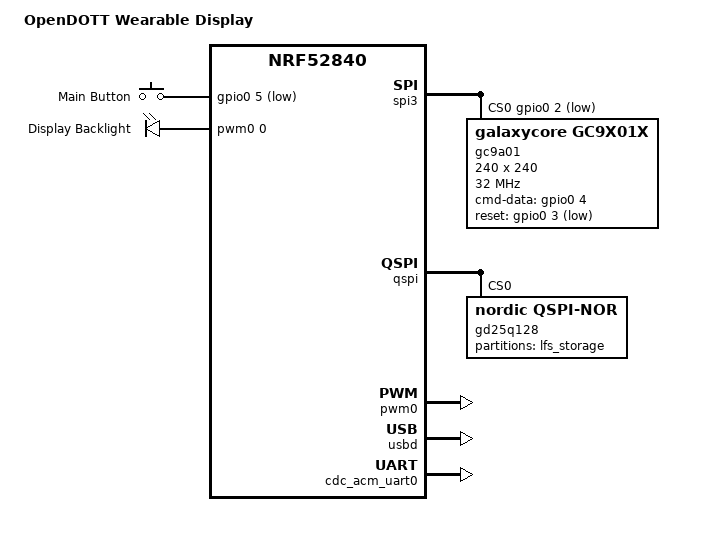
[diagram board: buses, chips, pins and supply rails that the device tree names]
/*
 * OpenDOTT Device Tree
 * SPDX-License-Identifier: MIT
 * 
 * nRF52840 + GC9A01 display + GD25Q128 flash
 * 
 * PIN ASSIGNMENTS (from firmware reverse engineering):
 * - P0.1  = Backlight PWM
 * - P0.2  = Display CS (guess)
 * - P0.3  = Display RESET (guess)  
 * - P0.4  = Display DC (from firmware GPIO spec)
 * - P0.5  = Button (guess)
 * - P0.15 = Display SPI SCK (confirmed)
 * - P0.16 = Display SPI MOSI (confirmed)
 * - P0.17 = QSPI CS (confirmed)
 * - P0.19-23 = QSPI data (confirmed)
 */

/dts-v1/;
#include <nordic/nrf52840_qiaa.dtsi>
#include "opendott-pinctrl.dtsi"

/ {
    model = "OpenDOTT Wearable Display";
    compatible = "opendott,opendott";

    chosen {
        zephyr,console = &cdc_acm_uart0;
        zephyr,shell-uart = &cdc_acm_uart0;
        zephyr,sram = &sram0;
        zephyr,flash = &flash0;
        zephyr,code-partition = &slot0_partition;
        zephyr,display = &gc9a01;
    };

    aliases {
        sw0 = &button0;
        spi-flash0 = &gd25q128;
        display0 = &gc9a01;
    };

    buttons {
        compatible = "gpio-keys";
        button0: button_0 {
            /* Button - best guess P0.5 */
            gpios = <&gpio0 5 (GPIO_PULL_UP | GPIO_ACTIVE_LOW)>;
            label = "Main Button";
            zephyr,code = <INPUT_KEY_0>;
        };
    };

    /* Display backlight via PWM */
    pwmleds {
        compatible = "pwm-leds";
        backlight: backlight {
            pwms = <&pwm0 0 PWM_MSEC(20) PWM_POLARITY_NORMAL>;
            label = "Display Backlight";
        };
    };
};

&flash0 {
    partitions {
        compatible = "fixed-partitions";
        #address-cells = <1>;
        #size-cells = <1>;

        /* MCUboot bootloader */
        boot_partition: partition@0 {
            label = "mcuboot";
            reg = <0x0 0xc000>;
        };

        /* Application slot 0 */
        slot0_partition: partition@c000 {
            label = "image-0";
            reg = <0xc000 0x72000>;
        };

        /* Application slot 1 (OTA) */
        slot1_partition: partition@7e000 {
            label = "image-1";
            reg = <0x7e000 0x72000>;
        };

        /* Scratch partition for OTA */
        scratch_partition: partition@f0000 {
            label = "image-scratch";
            reg = <0xf0000 0xa000>;
        };

        /* NVS storage for settings */
        storage_partition: partition@fa000 {
            label = "storage";
            reg = <0xfa000 0x6000>;
        };
    };
};

&gpio0 {
    status = "okay";
};

&gpio1 {
    status = "okay";
};

/* SPI3 for display - uses high-speed SPIM3 @ 32MHz */
&spi3 {
    compatible = "nordic,nrf-spim";
    status = "okay";
    pinctrl-0 = <&spi3_default>;
    pinctrl-1 = <&spi3_sleep>;
    pinctrl-names = "default", "sleep";
    cs-gpios = <&gpio0 2 GPIO_ACTIVE_LOW>;  /* CS on P0.2 (guess) */

    gc9a01: gc9a01@0 {
        compatible = "galaxycore,gc9x01x";
        reg = <0>;
        spi-max-frequency = <32000000>;
        cmd-data-gpios = <&gpio0 4 GPIO_ACTIVE_HIGH>;  /* DC on P0.4 (from firmware) */
        reset-gpios = <&gpio0 3 GPIO_ACTIVE_LOW>;      /* RESET on P0.3 (guess) */
        pixel-format = <0>;  /* RGB565 */
        width = <240>;
        height = <240>;
        display-inversion;
    };
};

/* QSPI for external flash - CONFIRMED pins from firmware */
&qspi {
    status = "okay";
    pinctrl-0 = <&qspi_default>;
    pinctrl-1 = <&qspi_sleep>;
    pinctrl-names = "default", "sleep";

    gd25q128: gd25q128@0 {
        compatible = "nordic,qspi-nor";
        reg = <0>;
        sck-frequency = <32000000>;
        jedec-id = [c8 40 18];  /* GD25Q128 JEDEC ID */
        size = <134217728>;      /* 128 Mbit = 16 MB */
        has-dpd;
        t-enter-dpd = <3000>;
        t-exit-dpd = <30000>;
        quad-enable-requirements = "S2B1v1";

        partitions {
            compatible = "fixed-partitions";
            #address-cells = <1>;
            #size-cells = <1>;

            /* LittleFS partition for GIF images */
            lfs_partition: partition@0 {
                label = "lfs_storage";
                reg = <0x0 0x1000000>;  /* Full 16MB */
            };
        };
    };
};

/* PWM for backlight on P0.1 */
&pwm0 {
    status = "okay";
    pinctrl-0 = <&pwm0_default>;
    pinctrl-1 = <&pwm0_sleep>;
    pinctrl-names = "default", "sleep";
};

/* USB CDC for console/debug */
&usbd {
    status = "okay";
};

&zephyr_udc0 {
    cdc_acm_uart0: cdc_acm_uart0 {
        compatible = "zephyr,cdc-acm-uart";
    };
};
